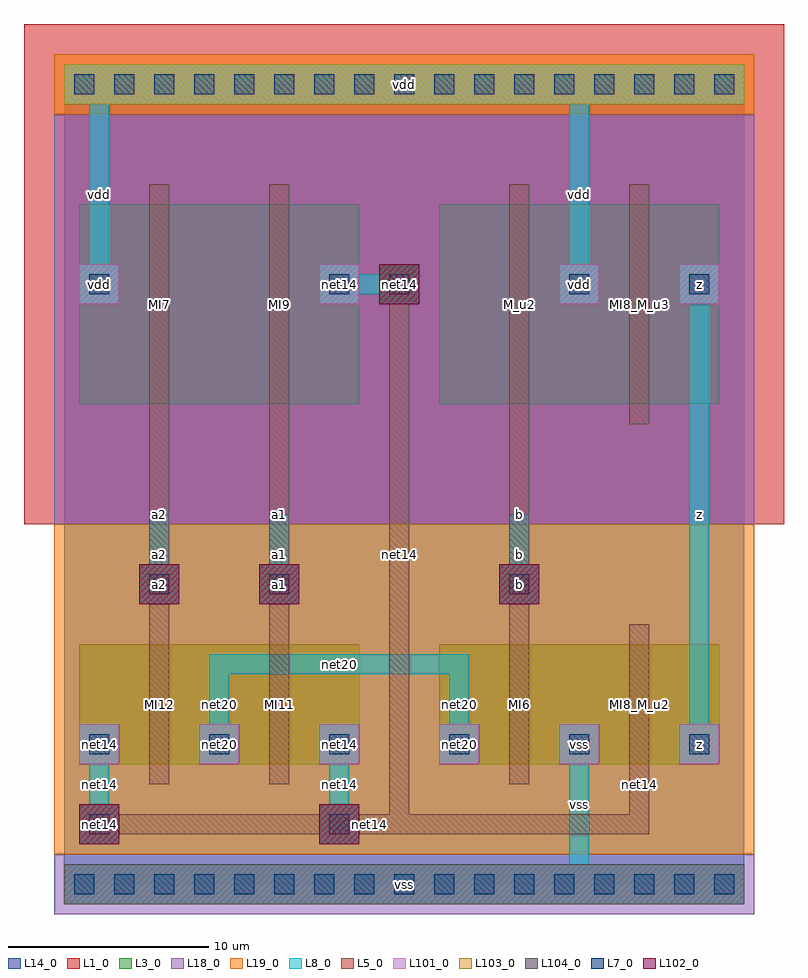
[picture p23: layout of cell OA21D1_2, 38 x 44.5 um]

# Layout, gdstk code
import gdstk
lib = gdstk.Library(unit=1e-6, precision=1e-09)
def R(c, l, rs):  # rectangles x0, y0, x1, y1
    for r in rs: c.add(gdstk.rectangle(r[:2], r[2:], *l))
def A(c, l, x, y, w, h, nx, ny, dx, dy):  # array of equal rectangles
    R(c, l, [(x+i*dx, y+j*dy, x+i*dx+w, y+j*dy+h) for i in range(nx) for j in range(ny)])
L1_0 = (1, 0)
L3_0 = (3, 0)
L5_0 = (5, 0)
L7_0 = (7, 0)
L8_0 = (8, 0)
L13_0 = (13, 0)
L14_0 = (14, 0)
L18_0 = (18, 0)
L19_0 = (19, 0)
L101_0 = (101, 0)
L102_0 = (102, 0)
L103_0 = (103, 0)
L104_0 = (104, 0)

oa21d1_2 = lib.new_cell('OA21D1_2')
R(oa21d1_2, L1_0, [(-2,18,36,43)])
A(oa21d1_2, L3_0, 0.75, 6, 2, 2, 6, 1, 6, 0)
A(oa21d1_2, L3_0, 0.75, 29, 2, 2, 3, 1, 12, 0)
R(oa21d1_2, L3_0, [(0,-1,34,1), (0,-1,34,1), (0.75,6,8.75,12), (6.75,6,14.75,12), (18.75,6,26.75,12), (24.75,6,32.75,12), (0.75,24,8.75,34), (6.75,24,14.75,34), (18.75,24,26.75,34), (24.75,24,32.75,34), (30.75,29,32.75,31), (0,39,34,41), (0,39,34,41)])
R(oa21d1_2, L5_0, [(0.75,2,2.75,4), (12.75,2,14.75,4), (1.25,2.5,29.25,3.5), (16.25,2.5,17.25,30.5), (28.25,2.5,29.25,7.5), (4.25,5,5.25,13), (10.25,5,11.25,13), (22.25,5,23.25,13), (28.25,5,29.25,13), (4.25,6.5,5.25,30.5), (10.25,6.5,11.25,30.5), (22.25,6.5,23.25,30.5), (3.75,14,5.75,16), (9.75,14,11.75,16), (21.75,14,23.75,16), (4.25,23,5.25,35), (10.25,23,11.25,35), (22.25,23,23.25,35), (28.25,23,29.25,35), (15.75,29,17.75,31)])
A(oa21d1_2, L7_0, 0.5, -0.5, 1, 1, 17, 2, 2, 40)
A(oa21d1_2, L7_0, 1.25, 6.5, 1, 1, 6, 1, 6, 0)
R(oa21d1_2, L7_0, [(1.25,2.5,2.25,3.5), (13.25,2.5,14.25,3.5), (4.25,14.5,5.25,15.5), (10.25,14.5,11.25,15.5), (22.25,14.5,23.25,15.5), (1.25,29.5,2.25,30.5), (13.25,29.5,14.25,30.5), (16.25,29.5,17.25,30.5), (25.25,29.5,26.25,30.5), (31.25,29.5,32.25,30.5)])
A(oa21d1_2, L8_0, 0.75, 6, 2, 2, 6, 1, 6, 0)
R(oa21d1_2, L8_0, [(0,-1,34,1), (25.25,0.5,26.25,7.5), (0.75,2,2.75,4), (12.75,2,14.75,4), (1.25,2.5,2.25,7.5), (13.25,2.5,14.25,7.5), (7.25,6.5,8.25,11.5), (19.25,6.5,20.25,11.5), (31.25,6.5,32.25,30.5), (7.25,10.5,20.25,11.5), (3.75,14,5.75,16), (9.75,14,11.75,16), (21.75,14,23.75,16), (4.25,14.5,5.25,18.5), (10.25,14.5,11.25,18.5), (22.25,14.5,23.25,18.5), (0.75,29,2.75,31), (12.75,29,14.75,31), (15.75,29,17.75,31), (24.75,29,26.75,31), (30.75,29,32.75,31), (1.25,29.5,2.25,39.5), (13.25,29.5,17.25,30.5), (25.25,29.5,26.25,39.5), (0,39,34,41)])
R(oa21d1_2, L14_0, [(0,0,34,40)])
R(oa21d1_2, L18_0, [(-0.5,-1.5,34.5,1.5), (-0.5,18,34.5,38.5)])
R(oa21d1_2, L19_0, [(-0.5,1.5,34.5,18), (-0.5,38.5,34.5,41.5)])
A(oa21d1_2, L101_0, 0, -1, 2, 2, 17, 2, 2, 40)
A(oa21d1_2, L101_0, 0.75, 6, 2, 2, 6, 1, 6, 0)
A(oa21d1_2, L101_0, 0.75, 29, 2, 2, 3, 1, 12, 0)
R(oa21d1_2, L101_0, [(30.75,29,32.75,31)])
R(oa21d1_2, L102_0, [(0.75,2,2.75,4), (12.75,2,14.75,4), (3.75,14,5.75,16), (9.75,14,11.75,16), (21.75,14,23.75,16), (15.75,29,17.75,31)])
R(oa21d1_2, L103_0, [(0,39,34,41)])
R(oa21d1_2, L104_0, [(0,-1,34,1)])
oa21d1_2.add(gdstk.FlexPath([(0.75,3),(32.75,3)], 0, ends="flush", simple_path=True, layer=13, datatype=0))  # L13_0
oa21d1_2.add(gdstk.FlexPath([(0.75,7),(32.75,7)], 0, ends="flush", simple_path=True, layer=13, datatype=0))  # L13_0
oa21d1_2.add(gdstk.FlexPath([(0.75,11),(32.75,11)], 0, ends="flush", simple_path=True, layer=13, datatype=0))  # L13_0
oa21d1_2.add(gdstk.FlexPath([(0.75,15),(32.75,15)], 0, ends="flush", simple_path=True, layer=13, datatype=0))  # L13_0
oa21d1_2.add(gdstk.FlexPath([(0.75,18),(32.75,18)], 0, ends="flush", simple_path=True, layer=13, datatype=0))  # L13_0
oa21d1_2.add(gdstk.FlexPath([(0.75,21),(32.75,21)], 0, ends="flush", simple_path=True, layer=13, datatype=0))  # L13_0
oa21d1_2.add(gdstk.FlexPath([(0.75,25),(32.75,25)], 0, ends="flush", simple_path=True, layer=13, datatype=0))  # L13_0
oa21d1_2.add(gdstk.FlexPath([(0.75,30),(32.75,30)], 0, ends="flush", simple_path=True, layer=13, datatype=0))  # L13_0
oa21d1_2.add(gdstk.FlexPath([(0.75,33),(32.75,33)], 0, ends="flush", simple_path=True, layer=13, datatype=0))  # L13_0
oa21d1_2.add(gdstk.FlexPath([(0.75,37),(32.75,37)], 0, ends="flush", simple_path=True, layer=13, datatype=0))  # L13_0
oa21d1_2.add(gdstk.FlexPath([(1.75,0.5),(1.75,39.5)], 0, ends="flush", simple_path=True, layer=13, datatype=0))  # L13_0
oa21d1_2.add(gdstk.FlexPath([(4.75,0.5),(4.75,39.5)], 0, ends="flush", simple_path=True, layer=13, datatype=0))  # L13_0
oa21d1_2.add(gdstk.FlexPath([(7.75,0.5),(7.75,39.5)], 0, ends="flush", simple_path=True, layer=13, datatype=0))  # L13_0
oa21d1_2.add(gdstk.FlexPath([(10.75,0.5),(10.75,39.5)], 0, ends="flush", simple_path=True, layer=13, datatype=0))  # L13_0
oa21d1_2.add(gdstk.FlexPath([(13.75,0.5),(13.75,39.5)], 0, ends="flush", simple_path=True, layer=13, datatype=0))  # L13_0
oa21d1_2.add(gdstk.FlexPath([(16.75,0.5),(16.75,39.5)], 0, ends="flush", simple_path=True, layer=13, datatype=0))  # L13_0
oa21d1_2.add(gdstk.FlexPath([(19.75,0.5),(19.75,39.5)], 0, ends="flush", simple_path=True, layer=13, datatype=0))  # L13_0
oa21d1_2.add(gdstk.FlexPath([(22.75,0.5),(22.75,39.5)], 0, ends="flush", simple_path=True, layer=13, datatype=0))  # L13_0
oa21d1_2.add(gdstk.FlexPath([(25.75,0.5),(25.75,39.5)], 0, ends="flush", simple_path=True, layer=13, datatype=0))  # L13_0
oa21d1_2.add(gdstk.FlexPath([(28.75,0.5),(28.75,39.5)], 0, ends="flush", simple_path=True, layer=13, datatype=0))  # L13_0
oa21d1_2.add(gdstk.FlexPath([(31.75,0.5),(31.75,39.5)], 0, ends="flush", simple_path=True, layer=13, datatype=0))  # L13_0
oa21d1_2.add(gdstk.Label('MI12', (4.75,9), layer=3, texttype=0))
oa21d1_2.add(gdstk.Label('MI11', (10.75,9), layer=3, texttype=0))
oa21d1_2.add(gdstk.Label('MI6', (22.75,9), layer=3, texttype=0))
oa21d1_2.add(gdstk.Label('MI8_M_u2', (28.75,9), layer=3, texttype=0))
oa21d1_2.add(gdstk.Label('MI9', (10.75,29), layer=3, texttype=0))
oa21d1_2.add(gdstk.Label('MI8_M_u3', (28.75,29), layer=3, texttype=0))
oa21d1_2.add(gdstk.Label('M_u2', (22.75,29), layer=3, texttype=0))
oa21d1_2.add(gdstk.Label('MI7', (4.75,29), layer=3, texttype=0))
oa21d1_2.add(gdstk.Label('net14', (1.75,7), layer=3, texttype=0))
oa21d1_2.add(gdstk.Label('net14', (13.75,7), layer=3, texttype=0))
oa21d1_2.add(gdstk.Label('net14', (13.75,30), layer=3, texttype=0))
oa21d1_2.add(gdstk.Label('net20', (7.75,7), layer=3, texttype=0))
oa21d1_2.add(gdstk.Label('net20', (19.75,7), layer=3, texttype=0))
oa21d1_2.add(gdstk.Label('z', (31.75,7), layer=3, texttype=0))
oa21d1_2.add(gdstk.Label('z', (31.75,30), layer=3, texttype=0))
oa21d1_2.add(gdstk.Label('vss', (25.75,7), layer=3, texttype=0))
oa21d1_2.add(gdstk.Label('vdd', (25.75,30), layer=3, texttype=0))
oa21d1_2.add(gdstk.Label('vdd', (1.75,30), layer=3, texttype=0))
oa21d1_2.add(gdstk.Label('net14', (1.75,3), layer=5, texttype=0))
oa21d1_2.add(gdstk.Label('net14', (15.25,3), layer=5, texttype=0))
oa21d1_2.add(gdstk.Label('net14', (28.75,5), layer=5, texttype=0))
oa21d1_2.add(gdstk.Label('net14', (16.75,16.5), layer=5, texttype=0))
oa21d1_2.add(gdstk.Label('net14', (16.75,30), layer=5, texttype=0))
oa21d1_2.add(gdstk.Label('net14', (13.75,3), layer=5, texttype=0))
oa21d1_2.add(gdstk.Label('a2', (4.75,18.5), layer=5, texttype=0))
oa21d1_2.add(gdstk.Label('a2', (4.75,15), layer=5, texttype=0))
oa21d1_2.add(gdstk.Label('a1', (10.75,18.5), layer=5, texttype=0))
oa21d1_2.add(gdstk.Label('a1', (10.75,15), layer=5, texttype=0))
oa21d1_2.add(gdstk.Label('b', (22.75,18.5), layer=5, texttype=0))
oa21d1_2.add(gdstk.Label('b', (22.75,15), layer=5, texttype=0))
oa21d1_2.add(gdstk.Label('net14', (1.75,7), layer=101, texttype=0))
oa21d1_2.add(gdstk.Label('net14', (13.75,7), layer=101, texttype=0))
oa21d1_2.add(gdstk.Label('net14', (13.75,30), layer=101, texttype=0))
oa21d1_2.add(gdstk.Label('net20', (7.75,7), layer=101, texttype=0))
oa21d1_2.add(gdstk.Label('net20', (19.75,7), layer=101, texttype=0))
oa21d1_2.add(gdstk.Label('z', (31.75,7), layer=101, texttype=0))
oa21d1_2.add(gdstk.Label('z', (31.75,30), layer=101, texttype=0))
oa21d1_2.add(gdstk.Label('vss', (25.75,7), layer=101, texttype=0))
oa21d1_2.add(gdstk.Label('vdd', (25.75,30), layer=101, texttype=0))
oa21d1_2.add(gdstk.Label('vdd', (1.75,30), layer=101, texttype=0))
oa21d1_2.add(gdstk.Label('net14', (1.75,3), layer=102, texttype=0))
oa21d1_2.add(gdstk.Label('net14', (16.75,30), layer=102, texttype=0))
oa21d1_2.add(gdstk.Label('net14', (13.75,3), layer=102, texttype=0))
oa21d1_2.add(gdstk.Label('a2', (4.75,15), layer=102, texttype=0))
oa21d1_2.add(gdstk.Label('a1', (10.75,15), layer=102, texttype=0))
oa21d1_2.add(gdstk.Label('b', (22.75,15), layer=102, texttype=0))
oa21d1_2.add(gdstk.Label('net14', (1.75,7), layer=8, texttype=0))
oa21d1_2.add(gdstk.Label('net14', (13.75,7), layer=8, texttype=0))
oa21d1_2.add(gdstk.Label('net14', (13.75,30), layer=8, texttype=0))
oa21d1_2.add(gdstk.Label('net14', (1.75,5), layer=8, texttype=0))
oa21d1_2.add(gdstk.Label('net14', (1.75,3), layer=8, texttype=0))
oa21d1_2.add(gdstk.Label('net14', (16.75,30), layer=8, texttype=0))
oa21d1_2.add(gdstk.Label('net14', (15.25,30), layer=8, texttype=0))
oa21d1_2.add(gdstk.Label('net14', (13.75,5), layer=8, texttype=0))
oa21d1_2.add(gdstk.Label('net14', (13.75,3), layer=8, texttype=0))
oa21d1_2.add(gdstk.Label('a2', (4.75,15), layer=8, texttype=0))
oa21d1_2.add(gdstk.Label('a2', (4.75,16.5), layer=8, texttype=0))
oa21d1_2.add(gdstk.Label('net20', (7.75,7), layer=8, texttype=0))
oa21d1_2.add(gdstk.Label('net20', (19.75,7), layer=8, texttype=0))
oa21d1_2.add(gdstk.Label('net20', (7.75,9), layer=8, texttype=0))
oa21d1_2.add(gdstk.Label('net20', (13.75,11), layer=8, texttype=0))
oa21d1_2.add(gdstk.Label('net20', (19.75,9), layer=8, texttype=0))
oa21d1_2.add(gdstk.Label('a1', (10.75,15), layer=8, texttype=0))
oa21d1_2.add(gdstk.Label('a1', (10.75,16.5), layer=8, texttype=0))
oa21d1_2.add(gdstk.Label('b', (22.75,15), layer=8, texttype=0))
oa21d1_2.add(gdstk.Label('b', (22.75,16.5), layer=8, texttype=0))
oa21d1_2.add(gdstk.Label('z', (31.75,7), layer=8, texttype=0))
oa21d1_2.add(gdstk.Label('z', (31.75,30), layer=8, texttype=0))
oa21d1_2.add(gdstk.Label('z', (31.75,18.5), layer=8, texttype=0))
oa21d1_2.add(gdstk.Label('vss', (25.75,7), layer=8, texttype=0))
oa21d1_2.add(gdstk.Label('vss', (25.75,4), layer=8, texttype=0))
oa21d1_2.add(gdstk.Label('vdd', (25.75,30), layer=8, texttype=0))
oa21d1_2.add(gdstk.Label('vdd', (25.75,34.5), layer=8, texttype=0))
oa21d1_2.add(gdstk.Label('vdd', (1.75,30), layer=8, texttype=0))
oa21d1_2.add(gdstk.Label('vdd', (1.75,34.5), layer=8, texttype=0))
oa21d1_2.add(gdstk.Label('vss', (17,0), layer=8, texttype=0))
oa21d1_2.add(gdstk.Label('vdd', (17,40), layer=8, texttype=0))

lib.write_gds('OA21D1_2.gds')
